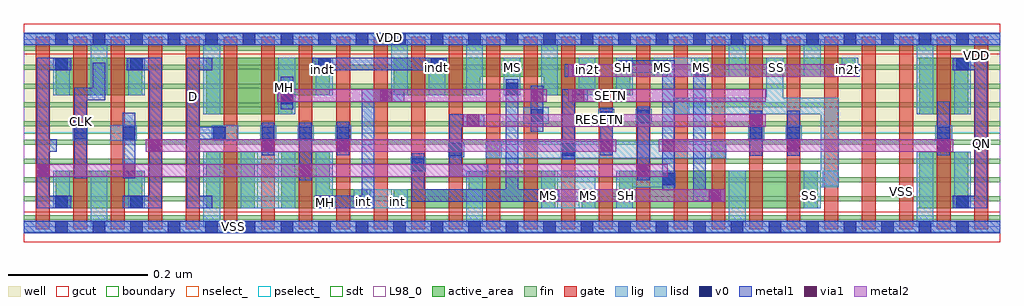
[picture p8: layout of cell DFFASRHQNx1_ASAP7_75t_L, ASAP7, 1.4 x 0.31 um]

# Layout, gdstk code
import gdstk
lib = gdstk.Library(unit=1e-6, precision=2.5e-10)
def R(c, l, rs):  # rectangles x0, y0, x1, y1
    for r in rs: c.add(gdstk.rectangle(r[:2], r[2:], *l))
def A(c, l, x, y, w, h, nx, ny, dx, dy):  # array of equal rectangles
    R(c, l, [(x+i*dx, y+j*dy, x+i*dx+w, y+j*dy+h) for i in range(nx) for j in range(ny)])
def P(c, l, *ps):  # polygons
    for p in ps: c.add(gdstk.Polygon(p, *l))
well = (1, 0)
fin = (2, 0)
gate = (7, 0)
gcut = (10, 0)
active_area = (11, 0)
nselect_ = (12, 0)
pselect_ = (13, 0)
lig = (16, 0)
lisd = (17, 0)
v0 = (18, 0)
metal1 = (19, 0)
metal2 = (20, 0)
via1 = (21, 0)
sdt = (88, 0)
L98_0 = (98, 0)
boundary = (100, 0)

dffasrhqnx1_asap7_75t_l = lib.new_cell('DFFASRHQNx1_ASAP7_75t_L')
R(dffasrhqnx1_asap7_75t_l, well, [(0,0.135,1.404,0.27)])
A(dffasrhqnx1_asap7_75t_l, fin, 0, 0.01, 1.404, 0.007, 1, 10, 0, 0.027)
A(dffasrhqnx1_asap7_75t_l, gate, 0.017, -0.0035, 0.02, 0.277, 26, 1, 0.054, 0)
R(dffasrhqnx1_asap7_75t_l, gcut, [(0,-0.022,1.404,0.022), (0,0.248,1.404,0.292)])
R(dffasrhqnx1_asap7_75t_l, active_area, [(0.046,0.027,0.17,0.081), (0.262,0.027,0.332,0.108), (1.288,0.027,1.358,0.108), (1.288,0.162,1.358,0.243), (0.046,0.189,0.17,0.243), (0.964,0.216,1.196,0.243)])
P(dffasrhqnx1_asap7_75t_l, active_area, [(1.142,0.027),(0.802,0.027),(0.802,0.054),(0.856,0.054),(0.856,0.081),(1.142,0.081)],
  [(0.926,0.216),(0.872,0.216),(0.872,0.189),(0.748,0.189),(0.748,0.216),(0.656,0.216),(0.656,0.189),(0.532,0.189),(0.532,0.243),(0.926,0.243)],
  [(0.44,0.189),(0.386,0.189),(0.386,0.162),(0.262,0.162),(0.262,0.243),(0.44,0.243)],
  [(0.494,0.027),(0.37,0.027),(0.37,0.108),(0.44,0.108),(0.44,0.054),(0.494,0.054)],
  [(0.764,0.027),(0.532,0.027),(0.532,0.054),(0.64,0.054),(0.64,0.081),(0.764,0.081)])
R(dffasrhqnx1_asap7_75t_l, nselect_, [(0,0,1.404,0.135)])
R(dffasrhqnx1_asap7_75t_l, pselect_, [(0,0.135,1.404,0.27)])
A(dffasrhqnx1_asap7_75t_l, lig, 0.34, 0.124, 0.023, 0.022, 3, 1, 0.054, 0)
R(dffasrhqnx1_asap7_75t_l, lig, [(0,-0.008,1.404,0.008), (1.149,0.059,1.172,0.081), (0.556,0.079,0.578,0.101), (0.664,0.099,0.687,0.123), (0.772,0.099,0.794,0.123), (0.988,0.099,1.01,0.123), (0.61,0.1,0.633,0.122), (0.07,0.124,0.092,0.146), (0.124,0.124,0.162,0.146), (0.27,0.124,0.308,0.146), (1.042,0.124,1.065,0.146), (1.096,0.124,1.119,0.146), (1.311,0.124,1.335,0.146), (0.718,0.148,0.755,0.172), (0.826,0.148,0.849,0.17), (0.88,0.148,0.903,0.17), (0.934,0.162,0.957,0.186), (0,0.262,1.404,0.278)])
A(dffasrhqnx1_asap7_75t_l, lisd, 0.528, 0.189, 0.024, 0.081, 3, 1, 0.108, 0)
A(dffasrhqnx1_asap7_75t_l, lisd, 0.582, 0.189, 0.024, 0.054, 3, 1, 0.108, 0)
R(dffasrhqnx1_asap7_75t_l, lisd, [(0.096,0,0.12,0.081), (0.258,0,0.282,0.108), (0.636,0,0.66,0.081), (1.014,0,1.038,0.081), (1.284,0,1.308,0.108), (0.042,0.027,0.066,0.081), (0.15,0.027,0.174,0.081), (0.312,0.027,0.39,0.108), (0.42,0.027,0.444,0.108), (0.474,0.027,0.552,0.054), (0.744,0.027,0.822,0.081), (1.338,0.027,1.362,0.108), (0.664,0.099,1.01,0.123), (0.258,0.162,0.282,0.27), (0.366,0.162,0.39,0.243), (1.284,0.162,1.308,0.27), (1.338,0.162,1.362,0.243), (0.042,0.189,0.066,0.243), (0.096,0.189,0.12,0.27), (0.15,0.189,0.174,0.243), (0.42,0.189,0.444,0.243), (0.852,0.189,0.876,0.243), (0.906,0.216,0.984,0.243), (1.014,0.216,1.038,0.27), (1.122,0.216,1.146,0.27), (1.176,0.216,1.2,0.243)])
P(dffasrhqnx1_asap7_75t_l, lisd, [(0.937,0.057),(0.876,0.057),(0.876,0.027),(0.852,0.027),(0.852,0.081),(0.937,0.081)],
  [(1.172,0.057),(1.146,0.057),(1.146,0.027),(1.122,0.027),(1.122,0.081),(1.146,0.081),(1.146,0.162),(0.934,0.162),(0.934,0.186),(1.068,0.186),(1.068,0.243),(1.092,0.243),(1.092,0.186),(1.172,0.186)])
A(dffasrhqnx1_asap7_75t_l, v0, 0.045, -0.009, 0.018, 0.018, 25, 2, 0.054, 0.27)
A(dffasrhqnx1_asap7_75t_l, v0, 0.342, 0.126, 0.018, 0.018, 3, 1, 0.054, 0)
R(dffasrhqnx1_asap7_75t_l, v0, [(0.045,0.027,0.063,0.045), (0.153,0.027,0.171,0.045), (0.423,0.027,0.441,0.045), (1.341,0.027,1.359,0.045), (0.747,0.036,0.765,0.054), (0.918,0.06,0.936,0.078), (0.558,0.081,0.576,0.099), (0.612,0.102,0.63,0.12), (0.774,0.102,0.792,0.12), (0.072,0.126,0.09,0.144), (0.142,0.126,0.16,0.144), (0.272,0.126,0.29,0.144), (1.044,0.126,1.062,0.144), (1.098,0.126,1.116,0.144), (1.314,0.126,1.332,0.144), (0.829,0.148,0.847,0.166), (0.882,0.15,0.9,0.168), (0.729,0.151,0.747,0.169), (0.369,0.176,0.387,0.194), (0.693,0.189,0.711,0.207), (0.801,0.216,0.819,0.234), (0.963,0.216,0.981,0.234), (1.179,0.216,1.197,0.234), (0.855,0.222,0.873,0.24), (0.045,0.225,0.063,0.243), (0.153,0.225,0.171,0.243), (0.423,0.225,0.441,0.243), (0.585,0.225,0.603,0.243), (1.341,0.225,1.359,0.243)])
R(dffasrhqnx1_asap7_75t_l, metal1, [(0,-0.009,1.404,0.009), (0.396,0.067,0.414,0.15), (0.882,0.067,0.9,0.173), (0.142,0.07,0.16,0.164), (1.044,0.102,1.062,0.167), (1.098,0.102,1.116,0.167), (0.342,0.103,0.36,0.15), (0.45,0.103,0.468,0.151), (0.829,0.103,0.847,0.171), (1.314,0.103,1.332,0.18), (0.729,0.137,0.747,0.203), (0.369,0.169,0.387,0.216), (0.778,0.216,0.819,0.234), (1.17,0.216,1.202,0.234), (0.415,0.225,0.608,0.243), (0,0.261,1.404,0.279)])
P(dffasrhqnx1_asap7_75t_l, metal1, [(1.008,0.036),(0.963,0.036),(0.963,0.234),(0.981,0.234),(0.981,0.054),(1.008,0.054)],
  [(0.068,0.225),(0.036,0.225),(0.036,0.126),(0.047,0.126),(0.047,0.108),(0.036,0.108),(0.036,0.045),(0.068,0.045),(0.068,0.027),(0.018,0.027),(0.018,0.243),(0.068,0.243)],
  [(0.936,0.053),(0.918,0.053),(0.918,0.222),(0.855,0.222),(0.855,0.24),(0.936,0.24)],
  [(0.547,0.18),(0.504,0.18),(0.504,0.027),(0.418,0.027),(0.418,0.045),(0.486,0.045),(0.486,0.198),(0.547,0.198)],
  [(0.198,0.027),(0.142,0.027),(0.142,0.045),(0.18,0.045),(0.18,0.225),(0.148,0.225),(0.148,0.243),(0.198,0.243)],
  [(0.29,0.126),(0.252,0.126),(0.252,0.045),(0.271,0.045),(0.271,0.027),(0.234,0.027),(0.234,0.243),(0.271,0.243),(0.271,0.225),(0.252,0.225),(0.252,0.144),(0.29,0.144)],
  [(0.668,0.072),(0.612,0.072),(0.612,0.162),(0.662,0.162),(0.662,0.144),(0.63,0.144),(0.63,0.09),(0.668,0.09)],
  [(0.77,0.036),(0.558,0.036),(0.558,0.106),(0.576,0.106),(0.576,0.054),(0.693,0.054),(0.693,0.212),(0.711,0.212),(0.711,0.054),(0.77,0.054)],
  [(0.811,0.18),(0.792,0.18),(0.792,0.097),(0.774,0.097),(0.774,0.198),(0.811,0.198)],
  [(0.117,0.182),(0.09,0.182),(0.09,0.07),(0.072,0.07),(0.072,0.2),(0.099,0.2),(0.099,0.236),(0.117,0.236)],
  [(1.386,0.027),(1.336,0.027),(1.336,0.045),(1.368,0.045),(1.368,0.225),(1.336,0.225),(1.336,0.243),(1.386,0.243)])
R(dffasrhqnx1_asap7_75t_l, metal2, [(0.741,0.036,1.008,0.054), (0.018,0.072,0.926,0.09), (0.175,0.108,0.852,0.126), (0.913,0.108,1.337,0.126), (0.632,0.144,1.067,0.162), (0.364,0.18,0.752,0.198), (0.783,0.18,1.067,0.198), (0.783,0.216,1.198,0.234)])
R(dffasrhqnx1_asap7_75t_l, via1, [(0.746,0.036,0.764,0.054), (0.985,0.036,1.003,0.054), (0.018,0.072,0.036,0.09), (0.142,0.072,0.16,0.09), (0.396,0.072,0.414,0.09), (0.882,0.072,0.9,0.09), (0.18,0.108,0.198,0.126), (0.342,0.108,0.36,0.126), (0.45,0.108,0.468,0.126), (0.829,0.108,0.847,0.126), (0.918,0.108,0.936,0.126), (1.098,0.108,1.116,0.126), (1.314,0.108,1.332,0.126), (0.637,0.144,0.655,0.162), (1.044,0.144,1.062,0.162), (0.369,0.18,0.387,0.198), (0.512,0.18,0.53,0.198), (0.729,0.18,0.747,0.198), (0.788,0.18,0.806,0.198), (0.788,0.216,0.806,0.234), (1.175,0.216,1.193,0.234)])
A(dffasrhqnx1_asap7_75t_l, sdt, 0.042, 0.027, 0.024, 0.054, 3, 2, 0.054, 0.162)
A(dffasrhqnx1_asap7_75t_l, sdt, 0.258, 0.027, 0.024, 0.081, 4, 1, 0.054, 0)
A(dffasrhqnx1_asap7_75t_l, sdt, 0.636, 0.027, 0.024, 0.054, 3, 1, 0.108, 0)
A(dffasrhqnx1_asap7_75t_l, sdt, 0.528, 0.189, 0.024, 0.054, 3, 1, 0.054, 0)
A(dffasrhqnx1_asap7_75t_l, sdt, 0.744, 0.189, 0.024, 0.054, 3, 1, 0.054, 0)
A(dffasrhqnx1_asap7_75t_l, sdt, 0.906, 0.216, 0.024, 0.027, 6, 1, 0.054, 0)
R(dffasrhqnx1_asap7_75t_l, sdt, [(0.474,0.027,0.498,0.054), (0.528,0.027,0.552,0.054), (0.798,0.027,0.822,0.054), (1.014,0.027,1.038,0.081), (1.122,0.027,1.146,0.081), (1.284,0.027,1.308,0.108), (1.338,0.027,1.362,0.108), (0.258,0.162,0.282,0.243), (0.366,0.162,0.39,0.243), (1.284,0.162,1.308,0.243), (1.338,0.162,1.362,0.243), (0.42,0.189,0.444,0.243), (0.69,0.216,0.714,0.243)])
R(dffasrhqnx1_asap7_75t_l, L98_0, [(0,0,1.404,0.27)])
R(dffasrhqnx1_asap7_75t_l, boundary, [(0,0,1.404,0.27)])
dffasrhqnx1_asap7_75t_l.add(gdstk.Label('RESETN', (0.828,0.154), layer=20, texttype=251))
dffasrhqnx1_asap7_75t_l.add(gdstk.Label('SETN', (0.843,0.189), layer=20, texttype=251))
dffasrhqnx1_asap7_75t_l.add(gdstk.Label('VSS', (1.263,0.051), layer=3, texttype=251))
dffasrhqnx1_asap7_75t_l.add(gdstk.Label('MS', (0.975,0.229), layer=11, texttype=0))
dffasrhqnx1_asap7_75t_l.add(gdstk.Label('MS', (0.919,0.229), layer=11, texttype=0))
dffasrhqnx1_asap7_75t_l.add(gdstk.Label('MS', (0.703,0.229), layer=11, texttype=0))
dffasrhqnx1_asap7_75t_l.add(gdstk.Label('MS', (0.754,0.045), layer=11, texttype=0))
dffasrhqnx1_asap7_75t_l.add(gdstk.Label('SH', (0.863,0.229), layer=11, texttype=0))
dffasrhqnx1_asap7_75t_l.add(gdstk.Label('SS', (1.082,0.229), layer=11, texttype=0))
dffasrhqnx1_asap7_75t_l.add(gdstk.Label('in2t', (0.811,0.226), layer=11, texttype=0))
dffasrhqnx1_asap7_75t_l.add(gdstk.Label('in2t', (1.184,0.226), layer=11, texttype=0))
dffasrhqnx1_asap7_75t_l.add(gdstk.Label('MH', (0.375,0.2), layer=11, texttype=0))
dffasrhqnx1_asap7_75t_l.add(gdstk.Label('indt', (0.594,0.229), layer=11, texttype=0))
dffasrhqnx1_asap7_75t_l.add(gdstk.Label('indt', (0.43,0.226), layer=11, texttype=0))
dffasrhqnx1_asap7_75t_l.add(gdstk.Label('MS', (0.812,0.045), layer=11, texttype=0))
dffasrhqnx1_asap7_75t_l.add(gdstk.Label('SH', (0.867,0.045), layer=11, texttype=0))
dffasrhqnx1_asap7_75t_l.add(gdstk.Label('SS', (1.13,0.045), layer=11, texttype=0))
dffasrhqnx1_asap7_75t_l.add(gdstk.Label('int', (0.538,0.037), layer=11, texttype=0))
dffasrhqnx1_asap7_75t_l.add(gdstk.Label('int', (0.488,0.037), layer=11, texttype=0))
dffasrhqnx1_asap7_75t_l.add(gdstk.Label('MH', (0.433,0.035), layer=11, texttype=0))
dffasrhqnx1_asap7_75t_l.add(gdstk.Label('VDD', (0.526,0.273), layer=19, texttype=251))
dffasrhqnx1_asap7_75t_l.add(gdstk.Label('CLK', (0.082,0.151), layer=19, texttype=251))
dffasrhqnx1_asap7_75t_l.add(gdstk.Label('D', (0.244,0.188), layer=19, texttype=251))
dffasrhqnx1_asap7_75t_l.add(gdstk.Label('VSS', (0.302,0), layer=19, texttype=251))
dffasrhqnx1_asap7_75t_l.add(gdstk.Label('QN', (1.377,0.12), layer=19, texttype=251))
dffasrhqnx1_asap7_75t_l.add(gdstk.Label('VDD', (1.37,0.247), layer=1, texttype=251))

lib.write_gds('DFFASRHQNx1_ASAP7_75t_L.gds')
